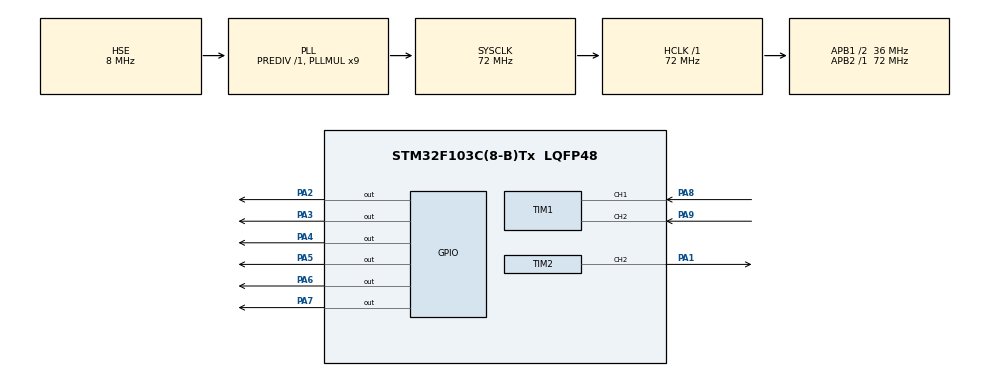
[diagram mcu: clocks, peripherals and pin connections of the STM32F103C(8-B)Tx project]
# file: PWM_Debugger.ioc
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Mcu.Family=STM32F1
Mcu.Name=STM32F103C(8-B)Tx
Mcu.Package=LQFP48
NVIC.PriorityGroup=NVIC_PRIORITYGROUP_4
PA1.Signal=S_TIM2_CH2
PA13.Mode=Serial_Wire
PA13.Signal=SYS_JTMS-SWDIO
PA14.Mode=Serial_Wire
PA14.Signal=SYS_JTCK-SWCLK
PA2.Signal=GPIO_Output
PA3.Signal=GPIO_Output
PA4.Signal=GPIO_Output
PA5.Signal=GPIO_Output
PA6.Signal=GPIO_Output
PA7.Signal=GPIO_Output
PA8.Signal=S_TIM1_CH1
PA9.Signal=S_TIM1_CH2
PD0-OSC_IN.Mode=HSE-External-Oscillator
PD0-OSC_IN.Signal=RCC_OSC_IN
PD1-OSC_OUT.Mode=HSE-External-Oscillator
PD1-OSC_OUT.Signal=RCC_OSC_OUT
ProjectManager.HeapSize=0x200
ProjectManager.StackSize=0x400
ProjectManager.TargetToolchain=STM32CubeIDE
RCC.AHBFreq_Value=72000000
RCC.APB1CLKDivider=RCC_HCLK_DIV2
RCC.APB1Freq_Value=36000000
RCC.APB1TimFreq_Value=72000000
RCC.APB2Freq_Value=72000000
RCC.APB2TimFreq_Value=72000000
RCC.HCLKFreq_Value=72000000
RCC.PLLMUL=RCC_PLL_MUL9
RCC.PLLSourceVirtual=RCC_PLLSOURCE_HSE
RCC.SYSCLKFreq_VALUE=72000000
RCC.SYSCLKSource=RCC_SYSCLKSOURCE_PLLCLK
RCC.USBFreq_Value=72000000
SH.S_TIM1_CH1.0=TIM1_CH1,Encoder_Interface
SH.S_TIM1_CH2.0=TIM1_CH2,Encoder_Interface
SH.S_TIM2_CH2.0=TIM2_CH2,PWM Generation2 CH2
TIM1.IC1Filter=15
TIM2.Channel-PWM\ Generation2\ CH2=TIM_CHANNEL_2
TIM2.Period=100-1
TIM2.Prescaler=36-1
VP_TIM2_VS_ClockSourceINT.Mode=Internal
board=custom

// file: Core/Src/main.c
/* USER CODE BEGIN Header */
/**
  ******************************************************************************
  * @file           : main.c
  * @brief          : Main program body
  ******************************************************************************
  * @attention
  *
  * Copyright (c) 2024 STMicroelectronics.
  * All rights reserved.
  *
  * This software is licensed under terms that can be found in the LICENSE file
  * in the root directory of this software component.
  * If no LICENSE file comes with this software, it is provided AS-IS.
  *
  ******************************************************************************
  */
/* USER CODE END Header */
#include "main.h"
#include "tim.h"
#include "gpio.h"

/* USER CODE BEGIN Includes */
#include "lcd.h"
#include "string.h"
#include "stdio.h"
/* USER CODE END Includes */

void SystemClock_Config(void);

int main(void)
{

  /* MCU Configuration--------------------------------------------------------*/

  /* Reset of all peripherals, Initializes the Flash interface and the Systick. */
  HAL_Init();

  /* Configure the system clock */
  SystemClock_Config();

  /* Initialize all configured peripherals */
  MX_GPIO_Init();
  MX_TIM2_Init();
  MX_TIM1_Init();
  /* USER CODE BEGIN 2 */

  HAL_TIM_PWM_Start(&htim2, TIM_CHANNEL_2);
  HAL_TIM_Encoder_Start(&htim1, TIM_CHANNEL_ALL);
  htim1.Instance->CNT = 10000;
  uint16_t cnt_encoder = 0;
  int period = 50;
  char message[50] = "";
  HAL_Delay(100);

  LCD_Init();//LCD初始化

  __HAL_TIM_SET_COMPARE(&htim2, TIM_CHANNEL_2, 50);
  HAL_Delay(10);

  LCD_Fill(0,0,LCD_W,LCD_H,WHITE);
  LCD_ShowChinese(5, 20, "占空比", RED, WHITE, 32, 0);
  LCD_ShowString(95,20,":",RED,WHITE,24,0);
  /* USER CODE END 2 */

  /* Infinite loop */
  /* USER CODE BEGIN WHILE */
  while (1)
  {
	if (cnt_encoder < __HAL_TIM_GET_COUNTER(&htim1))
	{
		cnt_encoder = __HAL_TIM_GET_COUNTER(&htim1);
		if(period < 1)
		{
			period = 0;
			__HAL_TIM_SET_COMPARE(&htim2, TIM_CHANNEL_2, period);
		}
		else
		{
			period--;
			__HAL_TIM_SET_COMPARE(&htim2, TIM_CHANNEL_2, period);
		}
		LCD_ShowIntNum(105,20,period,3,RED,WHITE,32);
	}
	else if(cnt_encoder > __HAL_TIM_GET_COUNTER(&htim1))
	{
		cnt_encoder = __HAL_TIM_GET_COUNTER(&htim1);
		if(period > 99)
		{
			period = 100;
			__HAL_TIM_SET_COMPARE(&htim2, TIM_CHANNEL_2, period);
		}
		else
		{
			period++;
			__HAL_TIM_SET_COMPARE(&htim2, TIM_CHANNEL_2, period);
		}
		LCD_ShowIntNum(105,20,period,3,RED,WHITE,32);
	}
    /* USER CODE END WHILE */

  }
}

void SystemClock_Config(void)
{
  RCC_OscInitTypeDef RCC_OscInitStruct = {0};
  RCC_ClkInitTypeDef RCC_ClkInitStruct = {0};

  /** Initializes the RCC Oscillators according to the specified parameters
  * in the RCC_OscInitTypeDef structure.
  */
  RCC_OscInitStruct.OscillatorType = RCC_OSCILLATORTYPE_HSE;
  RCC_OscInitStruct.HSEState = RCC_HSE_ON;
  RCC_OscInitStruct.HSEPredivValue = RCC_HSE_PREDIV_DIV1;
  RCC_OscInitStruct.HSIState = RCC_HSI_ON;
  RCC_OscInitStruct.PLL.PLLState = RCC_PLL_ON;
  RCC_OscInitStruct.PLL.PLLSource = RCC_PLLSOURCE_HSE;
  RCC_OscInitStruct.PLL.PLLMUL = RCC_PLL_MUL9;
  if (HAL_RCC_OscConfig(&RCC_OscInitStruct) != HAL_OK)
  {
    Error_Handler();
  }

  /** Initializes the CPU, AHB and APB buses clocks
  */
  RCC_ClkInitStruct.ClockType = RCC_CLOCKTYPE_HCLK|RCC_CLOCKTYPE_SYSCLK
                              |RCC_CLOCKTYPE_PCLK1|RCC_CLOCKTYPE_PCLK2;
  RCC_ClkInitStruct.SYSCLKSource = RCC_SYSCLKSOURCE_PLLCLK;
  RCC_ClkInitStruct.AHBCLKDivider = RCC_SYSCLK_DIV1;
  RCC_ClkInitStruct.APB1CLKDivider = RCC_HCLK_DIV2;
  RCC_ClkInitStruct.APB2CLKDivider = RCC_HCLK_DIV1;

  if (HAL_RCC_ClockConfig(&RCC_ClkInitStruct, FLASH_LATENCY_2) != HAL_OK)
  {
    Error_Handler();
  }
}

void Error_Handler(void)
{
  __disable_irq();
  while (1)
  {
  }
}
